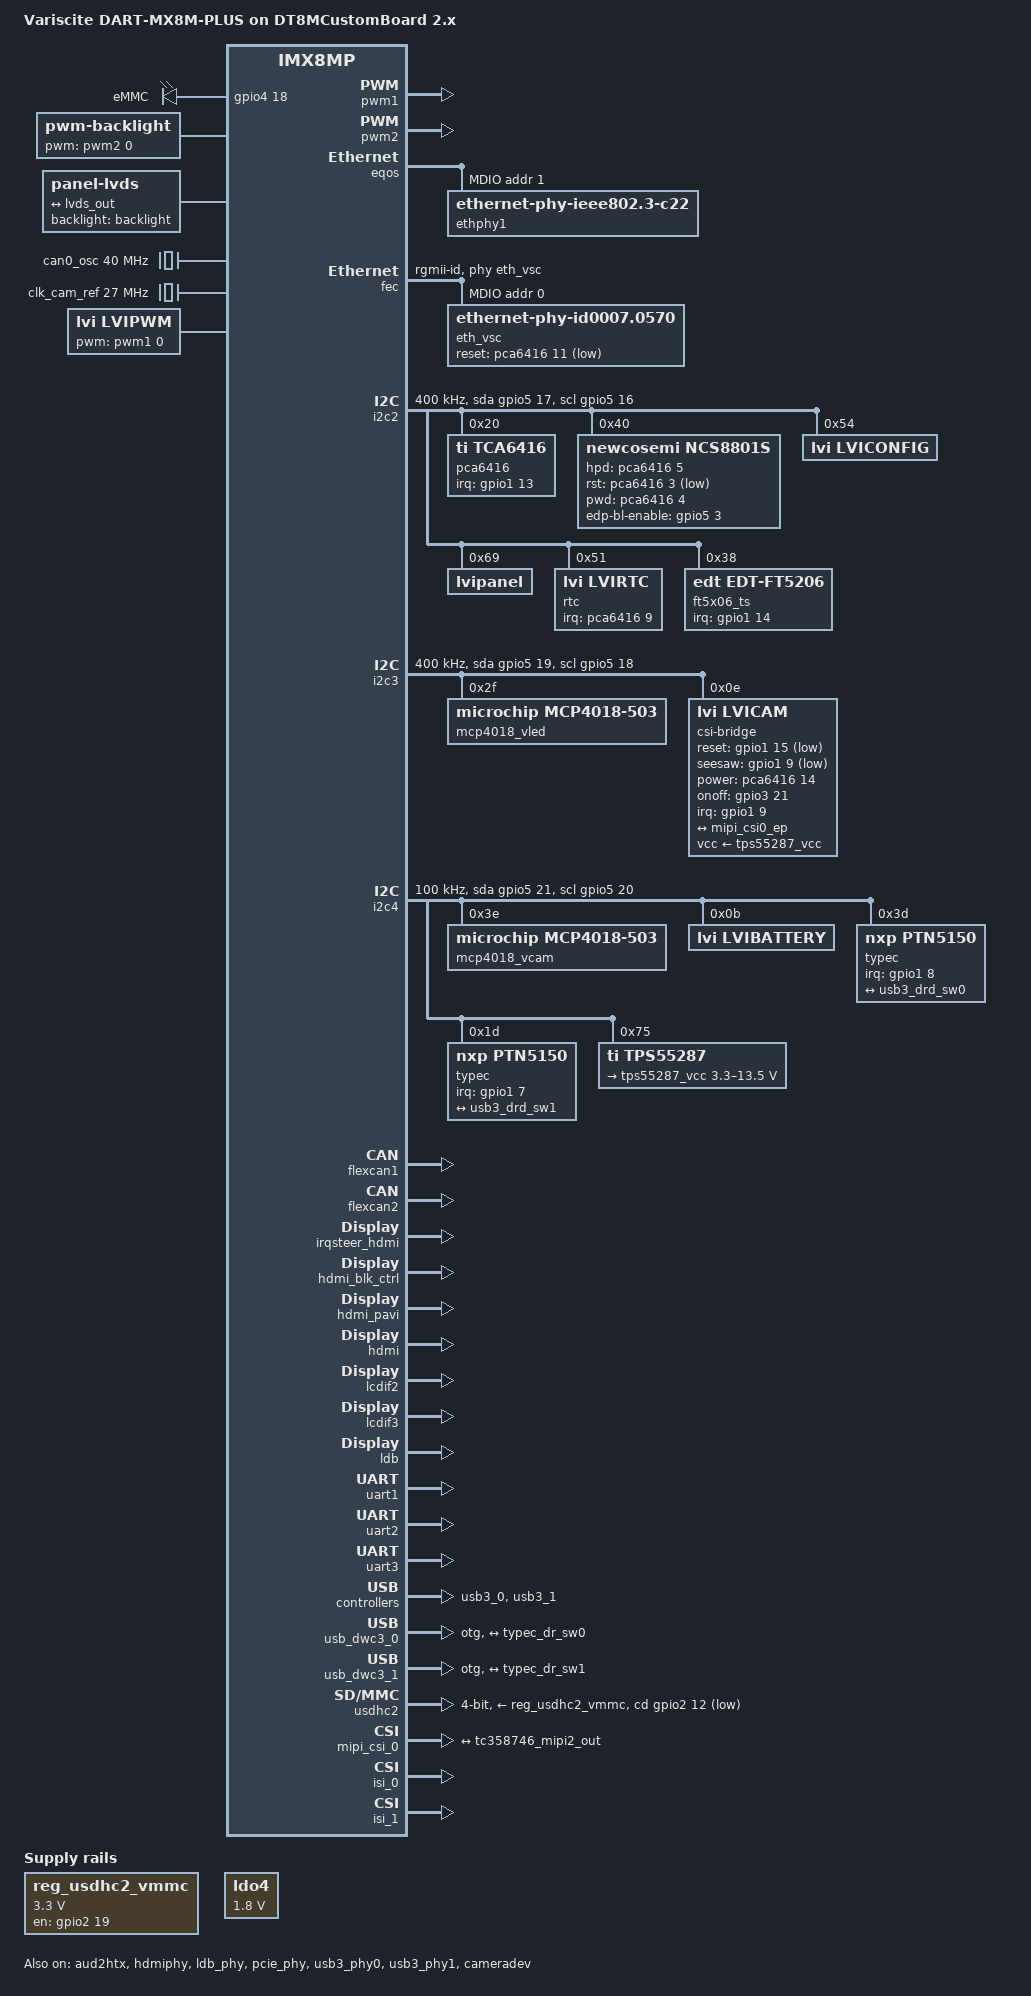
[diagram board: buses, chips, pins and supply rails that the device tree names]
// SPDX-License-Identifier: (GPL-2.0+ OR MIT)
/*
 * Copyright 2019 NXP
 * Copyright 2020-2021 Variscite Ltd.
 */

#include "imx8mp-var-dart.dtsi"

/ {
	model = "Variscite DART-MX8M-PLUS on DT8MCustomBoard 2.x";

	chosen {
		stdout-path = &uart1;
	};

	gpio-leds {
		compatible = "gpio-leds";
		pinctrl-names = "default";
		pinctrl-0 = <&pinctrl_gpio_leds>;
		status = "okay";

		emmc {
			label = "eMMC";
			gpios = <&gpio4 18 GPIO_ACTIVE_HIGH>;
			linux,default-trigger = "mmc2";
		};
	};

	// lvigpio {
	// 	compatible = "lvi,lvigpio";
	// 	seesaw-gpios = <&gpio1 9 GPIO_ACTIVE_LOW>;
	// };

	reg_usdhc2_vmmc: regulator-usdhc2-vmmc {
		compatible = "regulator-fixed";
		regulator-name = "VSD_3V3";
		regulator-min-microvolt = <3300000>;
		regulator-max-microvolt = <3300000>;
		gpio = <&gpio2 19 (GPIO_ACTIVE_HIGH | GPIO_PULL_UP)>;
		enable-active-high;
		startup-delay-us = <100>;
		off-on-delay-us = <12000>;
	};

	backlight: backlight {
		compatible = "pwm-backlight";
		pwms = <&pwm2 0 1000000>;
		status = "okay";

		brightness-levels = < 0  1  2  3  4  5  6  7  8  9
				     10 11 12 13 14 15 16 17 18 19
				     20 21 22 23 24 25 26 27 28 29
				     30 31 32 33 34 35 36 37 38 39
				     40 41 42 43 44 45 46 47 48 49
				     50 51 52 53 54 55 56 57 58 59
				     60 61 62 63 64 65 66 67 68 69
				     70 71 72 73 74 75 76 77 78 79
				     80 81 82 83 84 85 86 87 88 89
				     90 91 92 93 94 95 96 97 98 99
				    100>;
		default-brightness-level = <80>;
	};

	panel: edp-panel {
		status = "okay";
		compatible = "panel-lvds";
		data-mapping = "vesa-24";
		width-mm = <381>;
		height-mm = <214>;
		backlight = <&backlight>;


		/* Documentation / devicetree / bindings / video / display-timing.txt */
		panel-timing {
			clock-frequency = <144000000>;  
            hactive = <1920>;
            vactive = <1080>;
            hback-porch = <148>;
            hfront-porch = <88>;
            vback-porch = <36>;
            vfront-porch = <4>;
            hsync-len = <44>;
            vsync-len = <5>;
            hsync-active = <1>;
            vsync-active = <0>;
            de-active = <1>;
			// interlaced = <1>;
		};

		port {
			panel_in: endpoint {
				remote-endpoint = <&lvds_out>;
			};
		};
	};

	can0_osc: can0_osc {
		compatible = "fixed-clock";
		#clock-cells = <0>;
		clock-frequency = <40000000>;
	};

	sound_hdmi: sound_hdmi {
		compatible = "fsl,imx-audio-hdmi";
		model = "audio-hdmi";
		audio-cpu = <&aud2htx>;
		hdmi-out;
		constraint-rate = <44100>,
				<88200>,
				<176400>,
				<32000>,
				<48000>,
				<96000>,
				<192000>;
		status = "okay";
	};

	/* fixed 25MHz oscillator, fpga clock towards tc358746 */
	clk_cam_ref: oscillator {
		#clock-cells = <0>;
		compatible = "fixed-clock";
		clock-frequency = <27000000>;
	};

	
	lvipwm: lvipwm {
		status = "okay";
		compatible = "lvi,lvipwm";
		pwms = <&pwm1 0 255 0>; // PWM controller, channel, period, polarity
	};
};

&aud2htx {
	status = "okay";
};

&pwm1 {
	pinctrl-names = "default";
	pinctrl-0 = <&pinctrl_pwm1>;
	status = "okay";
};

&pwm2 {
	pinctrl-names = "default";
	pinctrl-0 = <&pinctrl_pwm2>;
	status = "okay";
};

&eqos {
	mdio {
		ethphy1: ethernet-phy@1 {
			compatible = "ethernet-phy-ieee802.3-c22";
			reg = <1>;
			at803x,eee-disabled;
			at803x,vddio-1p8v;
			eee-broken-1000t;
		};
	};
};

&fec {
    pinctrl-names = "default";
    pinctrl-0 = <&pinctrl_fec>;
    phy-mode = "rgmii-id";  /* or "rgmii-txid", "rgmii-rxid" depending on your hardware */
    phy-handle = <&eth_vsc>;
    fsl,magic-packet;
	// phy-reset-gpios = <&pca6416 11 GPIO_ACTIVE_LOW>;
	phy-reset-duration = <10>;
	phy-reset-post-delay = <20>;
	status = "okay";

    mdio {
        #address-cells = <1>;
        #size-cells = <0>;

        eth_vsc: ethernet-phy@0 {
            compatible = "ethernet-phy-id0007.0570";  /* VSC8531 PHY ID */
            reg = <0>;  /* MDIO address - adjust based on your hardware strapping */
            
            /* Optional: if you have a reset GPIO */
            reset-gpios = <&pca6416 11 GPIO_ACTIVE_LOW>; 
            reset-assert-us = <10000>; 
            reset-deassert-us = <80000>; 
            
            /* Optional: LED configuration */
            vsc8531,led-0-mode = <1>;  /* Link/Activity */
            vsc8531,led-1-mode = <1>;  /* Link/Activity */
        };
    };
};

&i2c2 {
	clock-frequency = <400000>;
	pinctrl-names = "default", "gpio";
	pinctrl-0 = <&pinctrl_i2c2>;
	pinctrl-1 = <&pinctrl_i2c2_gpio>;
	scl-gpios = <&gpio5 16 GPIO_ACTIVE_HIGH>;
	sda-gpios = <&gpio5 17 GPIO_ACTIVE_HIGH>;
	status = "okay";

	

	pca6416: gpio@20 {
		compatible = "ti,tca6416";
		reg = <0x20>;
		gpio-controller;
		#gpio-cells = <2>;

        interrupt-controller;
        #interrupt-cells = <2>;
		interrupt-parent = <&gpio1>;
		interrupts = <13 IRQ_TYPE_EDGE_FALLING>;

		pinctrl-names = "default";
		pinctrl-0 = <&pinctrl_pca6416>;

		
	};

	ncs8801s@40 {
		status = "okay";
		compatible = "newcosemi,ncs8801s";
		#address-cells = <1>;
		#size-cells = <0>;

		reg = <0x40>, <0x70>, <0x75>;
		screen-w = <1920>;
		screen-h = <1080>;
		hpd-gpios = <&pca6416 5 GPIO_ACTIVE_HIGH>;
		rst-gpios = <&pca6416 3 GPIO_ACTIVE_LOW>;
		pwd-gpios = <&pca6416 4 GPIO_ACTIVE_HIGH>;
		edp-bl-enable-gpios = <&gpio5 3 GPIO_ACTIVE_HIGH>;

		// bl-pwm = <&pwm2 0 1000000>;
        brightness-levels = <0 25 50 75 100>;

        default-brightness-level = <100>;
	};  

	lviconfig@54 {
        reg = <0x54>;    // EEPROM I2C address

        #address-cells = <1>;
        #size-cells = <0>;
        compatible = "lvi,lviconfig";
		// size = <32768> //size of EEPROM
    };

	lvipanel@69 {
		reg = <0x69>;

		#address-cells = <1>;
		#size-cells = <0>;
		compatible = "lvipanel";
    };

	/* DS1337 RTC module */
	rtc@51 {
		// compatible = "dallas,ds1307";
		// compatible = "nxp,pcf85063";
		compatible = "lvi,lvirtc";

		reg = <0x51>;
		pinctrl-names = "default";
		// pinctrl-0 = <&pinctrl_rtc>;
		interrupt-parent = <&pca6416>;
		interrupts = <9 IRQ_TYPE_EDGE_FALLING>;
		wakeup-source;
		status = "okay";
	};

	/* Capacitive touch controller */
	ft5x06_ts: ft5x06_ts@38 {
		compatible = "edt,edt-ft5206";
		reg = <0x38>;
		pinctrl-names = "default";
		pinctrl-0 = <&pinctrl_captouch>;
		// reset-gpios = <&pca6408_2 4 GPIO_ACTIVE_LOW>;
		interrupt-parent = <&gpio1>;
		interrupts = <14 IRQ_TYPE_EDGE_FALLING>;
		touchscreen-size-x = <1920>;
		touchscreen-size-y = <1080>;
		touchscreen-inverted-x;
		touchscreen-inverted-y;
		wakeup-source;
		status = "okay";
	};
};

//I2C communication with toshiba, lvi_panel, etc.
&i2c3 {
	clock-frequency = <400000>;
	pinctrl-names = "default", "gpio";
	pinctrl-0 = <&pinctrl_i2c3>;
	pinctrl-1 = <&pinctrl_i2c3_gpio>;
	scl-gpios = <&gpio5 18 GPIO_ACTIVE_HIGH>;
	sda-gpios = <&gpio5 19 GPIO_ACTIVE_HIGH>;
	status = "okay";

	mcp4018_vled: digipot@2f { //MCP4018T-503E
        compatible = "microchip,mcp4018-503";
        reg = <0x2f>;                /* I²C address */
        /* Optional: initial wiper value */
        microchip,initial-ohms = <2000>;
    };

	csi-bridge@e {
		reg = <0x0e>; // I2C Address?
		compatible = "lvi,lvicam"; // Used to find compatible driver
		pinctrl-names = "default"; // ? 

		pinctrl-0 = <&pinctrl_lvicam>;
		//clocks = <&clk_cam_ref>; // Refernce clock, generated by fpga
		reset-gpios = <&gpio1 15 GPIO_ACTIVE_LOW>; //used to reset toshiba camera bridge
		seesaw-gpios = <&gpio1 9 GPIO_ACTIVE_LOW>; //used to set near/distance viewing
		power-gpios = <&pca6416 14 GPIO_ACTIVE_HIGH>; //used to power camera
		onoff-gpios = <&gpio3 21 GPIO_ACTIVE_HIGH>; //power on/off control on FPGA

		/* Interrupt configuration for seesaw GPIO */
		interrupt-parent = <&gpio1>;
		interrupts = <9 IRQ_TYPE_EDGE_BOTH>;

		vcc-supply = <&tps55287_vcc>;

		ports {
 			#address-cells = <1>;
 			#size-cells = <0>;

			 /* Output, in this case the IMX CSI port*/
			 port@0 {
				reg = <0>;
			
				tc358746_mipi2_out: endpoint {
				remote-endpoint = <&mipi_csi0_ep>;
				//data-lanes = <1 2 3 4>;

				//Two lanes for colorbar
				data-lanes = <1 2 3 4>;
				//clock-noncontinuous;
				clock-continuous;
				//link-frequencies = /bits/ 64 <216000000>;
				//link-frequencies = /bits/ 64 <297000000>;
				link-frequencies = /bits/ 64 <594000000>;
				};
			};
		};
	};
};

/* i2c4 (sw) = i2c4 (hw)*/
&i2c4 {
	clock-frequency = <100000>;
	pinctrl-names = "default", "gpio";
	pinctrl-0 = <&pinctrl_i2c4>;
	pinctrl-1 = <&pinctrl_i2c4_gpio>;
	scl-gpios = <&gpio5 20 GPIO_ACTIVE_HIGH>;
	sda-gpios = <&gpio5 21 GPIO_ACTIVE_HIGH>;
	status = "okay";

	//voltage control can be done solely by the tps55287 PMIC
	// mcp4018_vdisp: digipot@2f { //MCP4018T-503E
    //     compatible = "microchip,mcp4018-503";
    //     reg = <0x2f>;                /* I²C address */
    //     /* Optional: initial wiper value */
    //     microchip,initial-ohms = <30000>; //10kohm
    // };

	mcp4018_vcam: digipot@3e { //MCP40D18T-503AE
        compatible = "microchip,mcp4018-503";  /* MCP40D18 is register-compatible */
        reg = <0x3e>;
        microchip,initial-ohms = <4800>; //6kohm
    };

	
	lvibattery@b {
        compatible = "lvi,lvibattery";
		reg = <0xb>;    // EEPROM I2C address
        #address-cells = <1>;
        #size-cells = <0>;
	};

	typec@3d {
		compatible = "nxp,ptn5150";
		pinctrl-names = "default";
		pinctrl-0 = <&pinctrl_extcon0>;
		reg = <0x3d>;
		
		interrupt-parent = <&gpio1>;
		interrupts = <8 IRQ_TYPE_LEVEL_LOW>;
		irq-is-id-quirk;
		status ="okay";

		port {
			typec_dr_sw0: endpoint {
				remote-endpoint = <&usb3_drd_sw0>;
			};
		};
	};

	typec@1d {
		compatible = "nxp,ptn5150";
		pinctrl-names = "default";
		pinctrl-0 = <&pinctrl_extcon1>;
		reg = <0x1d>;
		
		interrupt-parent = <&gpio1>;
		interrupts = <7 IRQ_TYPE_LEVEL_HIGH>;
		irq-is-id-quirk;
		status ="okay";

		port {
			typec_dr_sw1: endpoint {
				remote-endpoint = <&usb3_drd_sw1>;
			};
		};
	};

	tps55287: tps55287@75 {
		compatible = "ti,tps55287";
		reg = <0x75>;                 /* or 0x74 per MODE pin (datasheet Table 6-2) */
		status = "okay";

		/* Use internal feedback path; program VOUT via I2C */
		ti,internal-feedback;         /* default true if omitted */
		ti,intfb-ratio = <3>;         /* 0:0.2256, 1:0.1128, 2:0.0752, 3:0.0564 (=> 10 mV steps) */
		ti,vout-microvolt = <11000000>;/* 13.0 V */

		/* Output current limit using sense resistor on ISP/ISN */
		ti,ilim-milliamp = <2500>;    /* 2.5 A */
		ti,rsense-micro-ohms = <20000>; /* 20 mΩ (example) */

		/* Behavior tweaks */
		ti,force-pwm;                 /* FPWM at light load */
		ti,hiccup-enable;             /* short-circuit hiccup protection */
		ti,dischg-on-shutdown;        /* discharge when OE=0/shutdown */
		// ti,force-dischg;           /* use sparingly (<10ms) if toggled by software */
		ti,double-fsw-in-buckboost;   /* optional: double fSW in buck-boost */

		/* Slew rate and OCP delay */
		ti,slew-rate-mv-per-us = <5>; /* 5 mV/us */
		ti,ocp-delay-ms = <6>;        /* ~6 ms */

		/* Cable droop compensation */
		ti,cdc-external;           /* use external resistor on CDC pin */
		ti,cdc-rise-100mv-steps = <3>;/* 0..7 -> 0..0.7V @ 50mV sense; 3=>0.3V */

		tps55287_vcc: regulator@0 {
			compatible = "ti,tps55287-reg";
			regulator-name = "tps55287_vcc";
			regulator-min-microvolt = <3300000>;
			regulator-max-microvolt = <13500000>;

			// regulator-boot-on; 
			// regulator-always-on;
		};
	};
};

&flexcan1 {
	pinctrl-names = "default";
	pinctrl-0 = <&pinctrl_flexcan1>;
	status = "okay";
};

&flexcan2 {
	pinctrl-names = "default";
	pinctrl-0 = <&pinctrl_flexcan2>;
	status = "okay";
};

&irqsteer_hdmi {
	status = "okay";
};

&hdmi_blk_ctrl {
	status = "okay";
};

&hdmi_pavi {
	status = "okay";
};

&hdmi {
	status = "okay";
};

&hdmiphy {
	status = "okay";
};

/* MIPI-DSI */
&lcdif1 {
	status = "disabled";
	// compatible = "fsl,imx8mp-lcdif1";

};

/* LVDS */
&lcdif2 {
	status = "okay";
	compatible = "fsl,imx8mp-lcdif2";
};

/* HDMI */
&lcdif3 {
	status = "okay";
	// compatible = "fsl,imx8mp-lcdif3";

	thres-low  = <1 2>;             /* (FIFO * 1 / 2) */
	thres-high = <3 4>;             /* (FIFO * 3 / 4) */
};

&ldb {
    status = "okay";
    fsl,dual-channel;

    lvds-channel@0 {

        fsl,data-mapping = "spwg";
        fsl,data-width = <24>;
        status = "okay";

        port@1 {
            reg = <1>;

            lvds_out: endpoint {
                remote-endpoint = <&panel_in>;  /* Correctly matches panel endpoint */
            };
        };
    };
};


&ldb_phy {
	status = "okay";
};

&mipi_dsi {
	status = "disabled";
};

&pcie_ep {
	ext_osc = <1>;
	clocks = <&clk IMX8MP_CLK_HSIO_ROOT>,
		 <&clk IMX8MP_CLK_PCIE_AUX>,
		 <&clk IMX8MP_CLK_HSIO_AXI>,
		 <&clk IMX8MP_CLK_PCIE_ROOT>;
	clock-names = "pcie", "pcie_aux", "pcie_phy", "pcie_bus";
	assigned-clocks = <&clk IMX8MP_CLK_HSIO_AXI>,
			  <&clk IMX8MP_CLK_PCIE_AUX>;
	assigned-clock-rates = <500000000>, <10000000>;
	assigned-clock-parents = <&clk IMX8MP_SYS_PLL2_500M>,
				 <&clk IMX8MP_SYS_PLL2_50M>;
	status = "disabled";
};

&pcie_phy {
	ext_osc = <1>;
	status = "okay";
};

/* Console */
&uart1 {
	pinctrl-names = "default";
	pinctrl-0 = <&pinctrl_uart1>;
	status = "okay";
};

/* Header */
&uart2 {
	pinctrl-names = "default";
	pinctrl-0 = <&pinctrl_uart2>;
	status = "okay";
};

/* Header */
&uart3 {
	pinctrl-names = "default";
	pinctrl-0 = <&pinctrl_uart3>;
	status = "okay";
};


//USB 1
&usb3_phy0 {
	fsl,phy-tx-vref-tune = <0xe>;
	fsl,phy-tx-preemp-amp-tune = <3>;
	fsl,phy-tx-vboost-level = <5>;
	fsl,phy-comp-dis-tune = <7>;
	fsl,pcs-tx-deemph-3p5db = <0x21>;
	fsl,phy-pcs-tx-swing-full = <0x7f>;
	status = "okay";
};

&usb3_0 {
	status = "okay";
};

&usb_dwc3_0 {
	dr_mode = "otg";
	pinctrl-names = "default";
	pinctrl-0 = <&pinctrl_usb1_otg>;
	hnp-disable;
	srp-disable;
	adp-disable;
	usb-role-switch;
	role-switch-default-mode = "none";
	snps,dis-u1-entry-quirk;
	snps,dis-u2-entry-quirk;
	status = "okay";

	port {
		usb3_drd_sw0: endpoint {
			remote-endpoint = <&typec_dr_sw0>;
		};
	};
};

//USB2
&usb3_phy1 {
	fsl,phy-tx-vref-tune = <0xe>;
	fsl,phy-tx-preemp-amp-tune = <3>;
	fsl,phy-tx-vboost-level = <5>;
	fsl,phy-comp-dis-tune = <7>;
	fsl,pcs-tx-deemph-3p5db = <0x21>;
	fsl,phy-pcs-tx-swing-full = <0x7f>;
	status = "okay";
};

&usb3_1 {
	status = "okay";
};

&usb_dwc3_1 {
	dr_mode = "otg";
	pinctrl-names = "default";
	pinctrl-0 = <&pinctrl_usb2_otg>;
	hnp-disable;
	srp-disable;
	adp-disable;
	usb-role-switch;
	role-switch-default-mode = "none";
	snps,dis-u1-entry-quirk;
	snps,dis-u2-entry-quirk;
	status = "okay";

	port {
		usb3_drd_sw1: endpoint {
			remote-endpoint = <&typec_dr_sw1>;
		};
	};
};


/* LVI USB setup
	USB0 (hw=usb1)--> USB2.0 port
	USB1 (hw=usb2)--> USB3.0 port
						--> USB3.0 type C port 1 (logic addr=0x3D)
						--> USB3.0 type C port 2 (logic addr=0x1D)
						
*/

&usdhc2 {
	pinctrl-names = "default", "state_100mhz", "state_200mhz";
	pinctrl-0 = <&pinctrl_usdhc2>, <&pinctrl_usdhc2_gpio>;
	pinctrl-1 = <&pinctrl_usdhc2_100mhz>, <&pinctrl_usdhc2_gpio>;
	pinctrl-2 = <&pinctrl_usdhc2_200mhz>, <&pinctrl_usdhc2_gpio>;
	cd-gpios = <&gpio2 12 GPIO_ACTIVE_LOW>;
	vmmc-supply = <&reg_usdhc2_vmmc>;
	bus-width = <4>;
	status = "okay";
};

&mipi_csi_0 {
	#address-cells = <1>;
	#size-cells = <0>;
	status = "okay";

	port@0 {
		reg = <0>;
		mipi_csi0_ep: endpoint {
			remote-endpoint = <&tc358746_mipi2_out>;
			data-lanes = <4>; //Is this right?
			//For lanes for colorbar
			//data-lanes = <4>; //Is this right?
			csis-hs-settle = <13>;
			csis-clk-settle = <0>;
			csis-wclk;
		};
	};
};

&cameradev {
	status = "okay";
};

&isi_0 {
	status = "okay";

	cap_device {
		status = "okay";
	};

	m2m_device {
		status = "okay";
	};
};

&isi_1 {
	status = "okay";

	cap_device {
		status = "okay";
	};
};

&ldo4 {
	regulator-min-microvolt = <1800000>;
	regulator-max-microvolt = <1800000>;
};

&iomuxc {
	pinctrl-names = "default";
	pinctrl-0 = <&pinctrl_hog>;

	pinctrl_hog: hoggrp {
		fsl,pins = <
			MX8MP_IOMUXC_HDMI_DDC_SCL__HDMIMIX_HDMI_SCL			0x400001c2
			MX8MP_IOMUXC_HDMI_DDC_SDA__HDMIMIX_HDMI_SDA			0x400001c2
			MX8MP_IOMUXC_HDMI_HPD__HDMIMIX_HDMI_HPD				0x40000010
			MX8MP_IOMUXC_HDMI_CEC__HDMIMIX_HDMI_CEC				0x40000010
		>;
	};

	pinctrl_pwm1: pwm1grp {
		fsl,pins = <
			MX8MP_IOMUXC_GPIO1_IO01__PWM1_OUT				0x116
		>;
	};

	/* NOTES FOR IOMUX */
	/*i.MX 8M Plus Applications Processor Reference Manual, Rev. 1, 06/2021 - p.1646-1647
	8.2.4.168 SW_PAD_CTL_PAD_GPIO1_IO15 SW PAD Control Register (IOMUXC_SW_PAD_CTL_PAD_GPIO1_IO15)
	The above register sets different parameters for the pinctrl group.
	In this case, we can set it to the same values as pwm1grp, namely 0x116.

	Also see https://www.variscite.com/blog/i-mx-device-tree-pinmux-settings/ for similar usecase.

	Here you can find all definitions for IOMUX:
	arch/arm64/boot/dts/freescale/imx8mp-pinfunc.h
	
	*/
	pinctrl_pwm2: pwm2grp {
		fsl,pins = <
			MX8MP_IOMUXC_SPDIF_RX__PWM2_OUT  				0x116
		>;
	};

	pinctrl_fec: fecgrp {
		fsl,pins = <
			MX8MP_IOMUXC_SAI1_RXD4__ENET1_RGMII_RD0				0x90
			MX8MP_IOMUXC_SAI1_RXD5__ENET1_RGMII_RD1				0x90
			MX8MP_IOMUXC_SAI1_RXD6__ENET1_RGMII_RD2				0x90
			MX8MP_IOMUXC_SAI1_RXD7__ENET1_RGMII_RD3				0x90
			MX8MP_IOMUXC_SAI1_TXC__ENET1_RGMII_RXC				0x90
			MX8MP_IOMUXC_SAI1_TXFS__ENET1_RGMII_RX_CTL			0x90
			MX8MP_IOMUXC_SAI1_TXD0__ENET1_RGMII_TD0				0x00
			MX8MP_IOMUXC_SAI1_TXD1__ENET1_RGMII_TD1				0x00
			MX8MP_IOMUXC_SAI1_TXD2__ENET1_RGMII_TD2				0x00
			MX8MP_IOMUXC_SAI1_TXD3__ENET1_RGMII_TD3				0x00
			MX8MP_IOMUXC_SAI1_TXD4__ENET1_RGMII_TX_CTL			0x00
			MX8MP_IOMUXC_SAI1_TXD5__ENET1_RGMII_TXC				0x00

			MX8MP_IOMUXC_SAI1_RXD2__ENET1_MDC				0x00
			MX8MP_IOMUXC_SAI1_RXD3__ENET1_MDIO				0x00
		>;
	};

	pinctrl_flexspi0: flexspi0grp {
		fsl,pins = <
			MX8MP_IOMUXC_NAND_ALE__FLEXSPI_A_SCLK				0x1c2
			MX8MP_IOMUXC_NAND_CE0_B__FLEXSPI_A_SS0_B			0x82
			MX8MP_IOMUXC_NAND_DATA00__FLEXSPI_A_DATA00			0x82
			MX8MP_IOMUXC_NAND_DATA01__FLEXSPI_A_DATA01			0x82
			MX8MP_IOMUXC_NAND_DATA02__FLEXSPI_A_DATA02			0x82
			MX8MP_IOMUXC_NAND_DATA03__FLEXSPI_A_DATA03			0x82
		>;
	};

	pinctrl_i2c2: i2c2grp {
		fsl,pins = <
			MX8MP_IOMUXC_I2C2_SCL__I2C2_SCL					0x400001c2
			MX8MP_IOMUXC_I2C2_SDA__I2C2_SDA					0x400001c2
		>;
	};

	pinctrl_i2c3: i2c3grp {
		fsl,pins = <
			MX8MP_IOMUXC_I2C3_SCL__I2C3_SCL					0x400001c2
			MX8MP_IOMUXC_I2C3_SDA__I2C3_SDA					0x400001c2
		>;
	};

	pinctrl_i2c4: i2c4grp {
		fsl,pins = <
			MX8MP_IOMUXC_I2C4_SCL__I2C4_SCL					0x400001c2
			MX8MP_IOMUXC_I2C4_SDA__I2C4_SDA					0x400001c2
		>;
	};

	pinctrl_i2c2_gpio: i2c2gpiogrp {
		fsl,pins = <
			MX8MP_IOMUXC_I2C2_SCL__GPIO5_IO16				0x1c2
			MX8MP_IOMUXC_I2C2_SDA__GPIO5_IO17				0x1c2
		>;
	};

	pinctrl_i2c3_gpio: i2c3gpiogrp {
		fsl,pins = <
			MX8MP_IOMUXC_I2C3_SCL__GPIO5_IO18				0x1c2
			MX8MP_IOMUXC_I2C3_SDA__GPIO5_IO19				0x1c2
		>;
	};

	pinctrl_i2c4_gpio: i2c4gpiogrp {
		fsl,pins = <
			MX8MP_IOMUXC_I2C4_SCL__GPIO5_IO20				0x1c2
			MX8MP_IOMUXC_I2C4_SDA__GPIO5_IO21				0x1c2
		>;
	};

	pinctrl_uart1: uart1grp {
		fsl,pins = <
			MX8MP_IOMUXC_UART1_RXD__UART1_DCE_RX				0x40
			MX8MP_IOMUXC_UART1_TXD__UART1_DCE_TX				0x40
		>;
	};

	pinctrl_uart2: uart2grp {
		fsl,pins = <
			MX8MP_IOMUXC_UART2_RXD__UART2_DCE_RX				0x40
			MX8MP_IOMUXC_UART2_TXD__UART2_DCE_TX				0x40
		>;
	};

	pinctrl_uart3: uart3grp {
		fsl,pins = <
			MX8MP_IOMUXC_UART3_RXD__UART3_DCE_RX				0x40
			MX8MP_IOMUXC_UART3_TXD__UART3_DCE_TX				0x40
		>;
	};

	pinctrl_uart4: uart4grp {
		fsl,pins = <
			MX8MP_IOMUXC_ECSPI2_SCLK__UART4_DCE_RX				0x140
			MX8MP_IOMUXC_ECSPI2_MOSI__UART4_DCE_TX				0x140
			MX8MP_IOMUXC_ECSPI2_MISO__UART4_DCE_CTS				0x140
			MX8MP_IOMUXC_ECSPI2_SS0__UART4_DCE_RTS				0x140
		>;
	};

	pinctrl_usdhc2_gpio: usdhc2grp-gpio {
		fsl,pins = <
			MX8MP_IOMUXC_SD2_CD_B__GPIO2_IO12 				0x1c4
			MX8MP_IOMUXC_SD2_RESET_B__GPIO2_IO19				0x40
		>;
	};

	pinctrl_usdhc2: usdhc2grp {
		fsl,pins = <
			MX8MP_IOMUXC_SD2_CLK__USDHC2_CLK				0x190
			MX8MP_IOMUXC_SD2_CMD__USDHC2_CMD				0x1d0
			MX8MP_IOMUXC_SD2_DATA0__USDHC2_DATA0				0x1d0
			MX8MP_IOMUXC_SD2_DATA1__USDHC2_DATA1				0x1d0
			MX8MP_IOMUXC_SD2_DATA2__USDHC2_DATA2				0x1d0
			MX8MP_IOMUXC_SD2_DATA3__USDHC2_DATA3				0x1d0
			MX8MP_IOMUXC_GPIO1_IO04__USDHC2_VSELECT				0xc0
		>;
	};

	pinctrl_usdhc2_100mhz: usdhc2grp-100mhz {
		fsl,pins = <
			MX8MP_IOMUXC_SD2_CLK__USDHC2_CLK				0x194
			MX8MP_IOMUXC_SD2_CMD__USDHC2_CMD				0x1d4
			MX8MP_IOMUXC_SD2_DATA0__USDHC2_DATA0				0x1d4
			MX8MP_IOMUXC_SD2_DATA1__USDHC2_DATA1				0x1d4
			MX8MP_IOMUXC_SD2_DATA2__USDHC2_DATA2				0x1d4
			MX8MP_IOMUXC_SD2_DATA3__USDHC2_DATA3				0x1d4
			MX8MP_IOMUXC_GPIO1_IO04__USDHC2_VSELECT 			0xc0
		>;
	};

	pinctrl_usdhc2_200mhz: usdhc2grp-200mhz {
		fsl,pins = <
			MX8MP_IOMUXC_SD2_CLK__USDHC2_CLK				0x196
			MX8MP_IOMUXC_SD2_CMD__USDHC2_CMD				0x1d6
			MX8MP_IOMUXC_SD2_DATA0__USDHC2_DATA0				0x1d6
			MX8MP_IOMUXC_SD2_DATA1__USDHC2_DATA1				0x1d6
			MX8MP_IOMUXC_SD2_DATA2__USDHC2_DATA2				0x1d6
			MX8MP_IOMUXC_SD2_DATA3__USDHC2_DATA3				0x1d6
			MX8MP_IOMUXC_GPIO1_IO04__USDHC2_VSELECT 			0xc0
		>;
	};

	pinctrl_ecspi1: ecspi1grp {
		fsl,pins = <
			MX8MP_IOMUXC_ECSPI1_SCLK__GPIO5_IO06				0x12
			MX8MP_IOMUXC_ECSPI1_MOSI__ECSPI1_MOSI				0x12
			MX8MP_IOMUXC_ECSPI1_MISO__ECSPI1_MISO				0x12
			MX8MP_IOMUXC_ECSPI1_SS0__GPIO5_IO09				0x12
			MX8MP_IOMUXC_GPIO1_IO12__GPIO1_IO12				0x12
			MX8MP_IOMUXC_SD1_RESET_B__GPIO2_IO10				0x12
		>;
	};

	pinctrl_captouch: captouchgrp {
		fsl,pins = <
			MX8MP_IOMUXC_GPIO1_IO14__GPIO1_IO14				0x16
		>;
	};

	pinctrl_extcon1: extcongrp1 {
		fsl,pins = <
			MX8MP_IOMUXC_GPIO1_IO07__GPIO1_IO07				0x10
		>;
	};

	pinctrl_extcon0: extcongrp0 {
		fsl,pins = <
			MX8MP_IOMUXC_GPIO1_IO08__GPIO1_IO08				0x10
		>;
	};

	pinctrl_flexcan1: flexcan1grp {
		fsl,pins = <
			MX8MP_IOMUXC_SAI2_RXC__CAN1_TX					0x154
			MX8MP_IOMUXC_SAI2_TXC__CAN1_RX					0x154
		>;
	};

	pinctrl_flexcan2: flexcan2grp {
		fsl,pins = <
			MX8MP_IOMUXC_SAI2_MCLK__CAN2_RX					0x154
			MX8MP_IOMUXC_SAI2_TXD0__CAN2_TX					0x154
		>;
	};

	pinctrl_can: cangrp {
		fsl,pins = <
			MX8MP_IOMUXC_GPIO1_IO06__GPIO1_IO06				0x1c6
			MX8MP_IOMUXC_SPDIF_RX__GPIO5_IO04				0x16
		>;
	};

	pinctrl_gpio_leds: ledgrp {
		fsl,pins = <
			MX8MP_IOMUXC_SAI1_TXD6__GPIO4_IO18				0xc6
		>;
	};

	pinctrl_pca6416: pca6416grp {
		fsl,pins = <
			MX8MP_IOMUXC_GPIO1_IO13__GPIO1_IO13				0x1c6
		>;
	};

	pinctrl_seesaw: seesawgrp {
		/* i.MX 8M Plus Applications Processor Reference Manual, Rev. 1, 06/2021 - p.1616-1617
		bit 8: Pull enable - Enable (1)
		bit 7: Input select - CMOS (0)
		bit 6: Pull-up/down - up (1)
		bit 5: Open-drain - Disable (0)
		bit 4: Slew-rate - Slow (0)
		bit 3: reserved (0)
		bit 2-1: Drive strength - DSE_X6 (11)
		bit 0: reserved (0)
		--> 101000110 = 0x146 */
		fsl,pins = <
			MX8MP_IOMUXC_NAND_READY_B__GPIO3_IO16 0x140
		>;
	};

	pinctrl_lvicam: lvicamgrp {
		fsl,pins = <
			MX8MP_IOMUXC_SAI5_RXD0__GPIO3_IO21 0x19
		>;
	};

	pinctrl_usb1_otg: usb2_otg_grp {
		fsl,pins = <
			MX8MP_IOMUXC_GPIO1_IO10__USB1_ID 0x1c6
		>;
	};
	
	pinctrl_usb2_otg: usb1_otg_grp {
		fsl,pins = <
			MX8MP_IOMUXC_GPIO1_IO11__USB2_ID 0x1c6
		>;
	};
};
